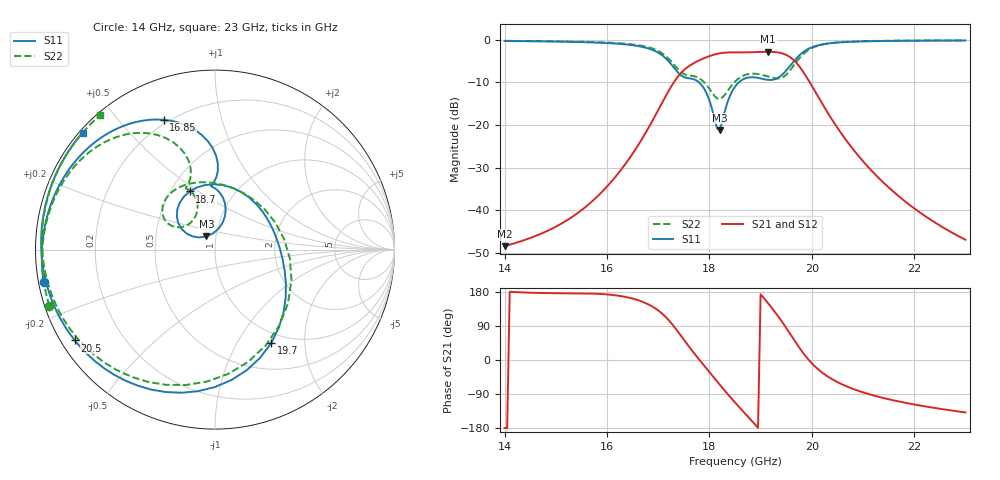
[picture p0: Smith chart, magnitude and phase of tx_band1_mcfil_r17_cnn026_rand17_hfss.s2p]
! Touchstone file exported from HFSS 3D Layout Design 2026.1.0
!  File:  D:/Work/SIM/ADS_AUTO_SIM/projects/RFSOC_RF/TX_Fillter.aedt
!  Generated:  12:57:33 AM Aug 31, 2026
!  Design:  TX_BAND1_MCFIL_R17_CNN026
!  Project:  TX_Fillter
# GHz S MA R 50.000000
! Terminal data exported
! Port[1] = Port1
! Port[2] = Port2
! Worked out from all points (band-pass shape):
!   181 points, 14 GHz to 23 GHz, reference 50 ohm
!   highest |S21| = -2.79 dB at 19.15 GHz (marker M1); lowest = -48.5 dB at 14 GHz (marker M2)
!   |S21| within 3 dB of the highest: 17.65 GHz to 19.73 GHz (2.08 GHz wide, 11.1 % of centre)
!   lowest |S11| = -21.2 dB at 18.2 GHz (marker M3), VSWR 1.19, Z = 45 + j6.67 ohm
!   |S11| at or under -10 dB: 17.8 GHz to 18.57 GHz (772.9 MHz wide, 4.25 % of centre)
!   |S22| runs from -13.9 to -0.1 dB; largest |S21 - S12| = 1.3e-14
!   S11 on the Smith chart (normalised r, x): 14 GHz: 0.01, -0.09; 16.85 GHz: 0.18, +0.66; 18.7 GHz: 0.62, +0.46; 19.7 GHz: 0.85, -1.40; 20.5 GHz: 0.04, -0.30; 23 GHz: 0.01, +0.38
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14  0.9713 -169.4  0.003773 -179.3  0.003773 -179.3  0.9749 -161.2
15.5  0.9424 160.0  0.009968 175.9  0.009968 175.9  0.9509 170.1
16.25  0.8977 138.2  0.02851 169.1  0.02851 169.1  0.913 150.5
16.85  0.7781 111.6  0.1021 143.7  0.1021 143.7  0.8065 127.0
17  0.7082 102.8  0.1495 130.7  0.1495 130.7  0.7416 119.2
17.25  0.5214 89.3  0.2806 98.3  0.2806 98.3  0.5616 107.5
17.55  0.3583 93.4  0.4676 44.7  0.4676 44.7  0.3879 113.6
17.9  0.2658 78.0  0.6115 -15.4  0.6115 -15.4  0.317 110.7
18.2  0.08755 122.9  0.6948 -64.7  0.6948 -64.7  0.2018 133.4
18.5  0.2821 139.0  0.7141 -112.0  0.7141 -112.0  0.3234 149.5
18.7  0.3535 113.5  0.7137 -141.7  0.7137 -141.7  0.3878 137.1
18.95  0.3579 74.7  0.7205 -178.9  0.7205 -178.9  0.3971 114.8
19.15  0.339 38.4  0.7252 149.2  0.7252 149.2  0.3705 90.3
19.45  0.4055 -16.8  0.6855 94.7  0.6855 94.7  0.3685 23.8
19.7  0.6074 -59.0  0.5369 43.7  0.5369 43.7  0.5532 -49.5
19.85  0.7321 -82.7  0.4063 15.1  0.4063 15.1  0.6964 -83.9
20  0.8189 -103.1  0.2888 -8.7  0.2888 -8.7  0.8008 -109.8
20.25  0.8953 -128.8  0.1599 -37.9  0.1599 -37.9  0.8932 -139.1
20.5  0.9306 -147.1  0.09278 -58.3  0.09278 -58.3  0.9338 -158.3
20.9  0.957 -167.6  0.04423 -80.8  0.04423 -80.8  0.9615 -178.6
21.5  0.9734 171.5  0.01851 -103.5  0.01851 -103.5  0.9766 161.5
23  0.9843 138.5  0.00449 -138.3  0.00449 -138.3  0.985 130.4
